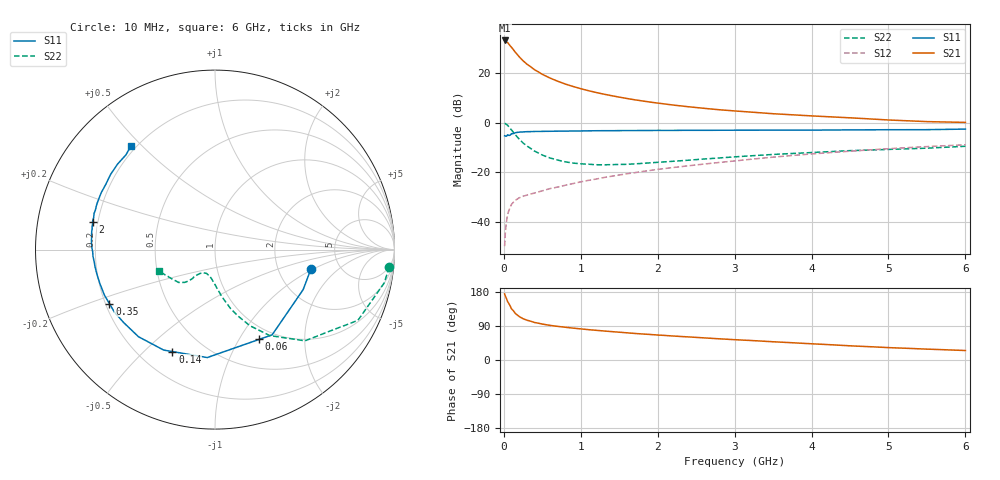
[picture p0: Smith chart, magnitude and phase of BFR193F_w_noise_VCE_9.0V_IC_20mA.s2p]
! Infineon Technologies  Discrete & RF Semiconductors
! BFR193F
! VCE =  9.0 V,  IC =  20 mA
! Common Emitter S-Parameters:  Jan 2017
# GHz  S  MA  R  50
!  f  S11  S21  S12  S22
! GHz  MAG  ANG  MAG  ANG  MAG  ANG  MAG  ANG
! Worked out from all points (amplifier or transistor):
!   77 points, 10 MHz to 6 GHz, reference 50 ohm
!   highest |S21| = 33.3 dB at 10 MHz (marker M1)
!   |S21| within 3 dB of that: start of sweep to 105.9 MHz
!   unconditionally stable (mu >= 1): 1.349 GHz to 2.738 GHz
!   at 130 MHz: K = 0.27, MSG = 30.6 dB, |S12| = -32.0 dB
!   at 2.2 GHz: K = 1.02, MAG = 11.7 dB, |S12| = -18.1 dB
!   at 6 GHz: K = 0.83, MSG = 4.5 dB, |S12| = -8.9 dB
!   lowest NFmin = 1.04 dB at 450 MHz
!   S11 on the Smith chart (normalised r, x): 10 MHz: 3.07, -0.96; 60 MHz: 0.84, -1.22; 140 MHz: 0.33, -0.61; 350 MHz: 0.22, -0.23; 2 GHz: 0.18, +0.11; 6 GHz: 0.18, +0.46
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0.01  0.5451 -11.6  45.98 174.4  0.0032 85.5  0.9755 -5.7
0.02  0.5394 -24.4  44.91 168.6  0.0062 84.5  0.9613 -11.1
0.05  0.5718 -56.2  41.6 153.8  0.0142 68.8  0.8886 -26.3
0.06  0.5575 -63.8  39.66 150.7  0.0158 65.4  0.8471 -29.5
0.1  0.603 -94.1  33.45 134.8  0.0225 56.8  0.7138 -45.4
0.14  0.6158 -112.7  27.76 125.7  0.0261 50.4  0.5948 -54.6
0.15  0.6287 -117.1  26.48 122.8  0.0271 49.1  0.5681 -57.5
0.2  0.646 -131.3  21.48 114.7  0.0304 46.8  0.4672 -65.3
0.25  0.6514 -141.4  17.84 109.0  0.0327 46.1  0.3896 -71.1
0.3  0.6598 -148.1  15.26 105.0  0.0344 45.5  0.3383 -75.3
0.35  0.6607 -152.9  13.48 102.3  0.0362 46.5  0.3017 -78.1
0.4  0.6662 -157.6  11.74 98.9  0.038 47.4  0.266 -81.6
0.5  0.6686 -163.4  9.518 94.8  0.042 50.5  0.2222 -86.3
0.6  0.6719 -167.9  8.002 91.4  0.0466 52.6  0.1939 -90.1
0.8  0.6765 -174.2  6.042 86.4  0.0545 57.4  0.1619 -97.3
1.1  0.6858 179.2  4.441 80.1  0.0684 62.6  0.1451 -105.8
2  0.6996 167.2  2.495 65.9  0.1138 69.2  0.1584 -122.5
2.1  0.6992 166.2  2.385 64.7  0.119 69.5  0.1623 -123.3
3.1  0.7061 157.1  1.688 52.6  0.1752 70.7  0.209 -128.3
4.1  0.7102 148.0  1.35 41.8  0.2401 68.5  0.2541 -134.0
5.1  0.7221 137.7  1.119 31.9  0.3044 64.0  0.292 -146.6
6  0.7437 129.0  1.015 25.0  0.3582 58.9  0.3344 -158.9
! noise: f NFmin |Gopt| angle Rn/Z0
0.45  1.04  0.33  168  0.06
0.9  1.12  0.39  169  0.07
1.9  1.71  0.57  -171  0.06
2.4  2.01  0.61  -161  0.1
